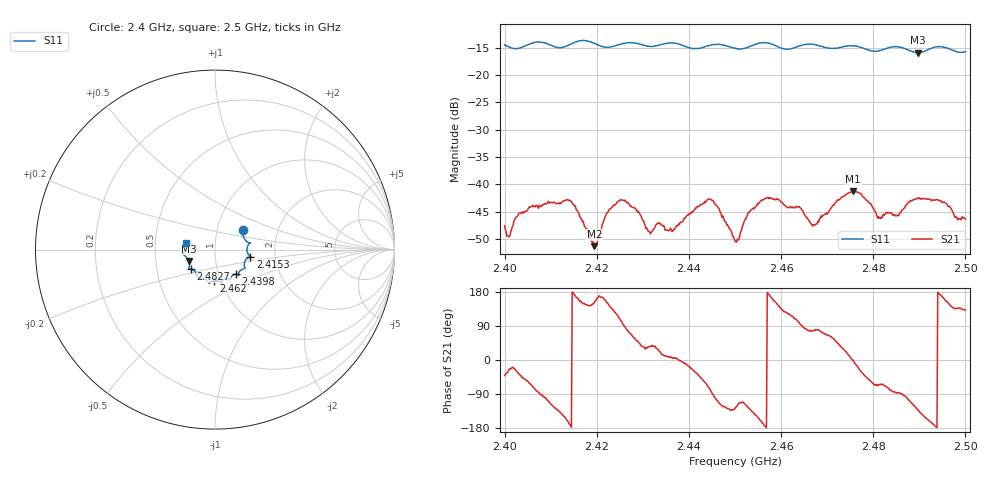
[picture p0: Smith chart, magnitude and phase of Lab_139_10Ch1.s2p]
# Hz S RI R 50
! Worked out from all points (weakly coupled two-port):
!   601 points, 2.4 GHz to 2.5 GHz, reference 50 ohm
!   highest |S21| = -41.27 dB at 2.4757 GHz (marker M1); lowest = -51.3 dB at 2.4195 GHz (marker M2)
!   lowest |S11| = -15.9 dB at 2.4897 GHz (marker M3), VSWR 1.38, Z = 36.9 - j4.82 ohm
!   |S11| at or under -10 dB: start of sweep to end of sweep
!   S12 and S22 are empty: the file has one direction only
!   S11 on the Smith chart (normalised r, x): 2.4 GHz: 1.33, +0.29; 2.4153 GHz: 1.48, -0.12; 2.4398 GHz: 1.21, -0.34; 2.462 GHz: 0.93, -0.33; 2.4827 GHz: 0.75, -0.17; 2.5 GHz: 0.72, +0.06
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2.4e9  0.1554 0.1067  0.00316 -0.00272  0 0  0 0
2.401e9  0.1553 0.0911  0.00303 -0.00132  0 0  0 0
2.405667e9  0.1898 0.0377  0.00265 -0.00563  0 0  0 0
2.415333e9  0.1962 -0.0387  -0.00622 0.00113  0 0  0 0
2.416667e9  0.2021 -0.0426  -0.00427 0.00222  0 0  0 0
2.4195e9  0.1897 -0.0429  -0.00241 0.00124  0 0  0 0
2.422333e9  0.1658 -0.0679  -0.00478 0.00267  0 0  0 0
2.425e9  0.1649 -0.096  -0.00224 0.00675  0 0  0 0
2.4315e9  0.1389 -0.1186  0.00292 0.00211  0 0  0 0
2.433333e9  0.1307 -0.1335  0.00393 0.00205  0 0  0 0
2.436667e9  0.1327 -0.1442  0.00383 0.000385  0 0  0 0
2.439833e9  0.1158 -0.136  0.00501 -0.00142  0 0  0 0
2.444833e9  0.0846 -0.1679  0.000817 -0.00719  0 0  0 0
2.45e9  0.0654 -0.1624  -0.00185 -0.00238  0 0  0 0
2.456e9  0.0382 -0.1937  -0.00691 -0.00167  0 0  0 0
2.462e9  -0.00504 -0.1731  -0.00304 0.00547  0 0  0 0
2.466667e9  -0.0344 -0.1882  0.00102 0.00414  0 0  0 0
2.475667e9  -0.0943 -0.1592  0.00863 -0.000323  0 0  0 0
2.482667e9  -0.135 -0.1091  0.00197 -0.00503  0 0  0 0
2.483333e9  -0.1402 -0.1088  0.00141 -0.0053  0 0  0 0
2.489667e9  -0.1467 -0.0636  -0.00489 -0.00555  0 0  0 0
2.5e9  -0.1591 0.0385  -0.00321 0.00356  0 0  0 0
